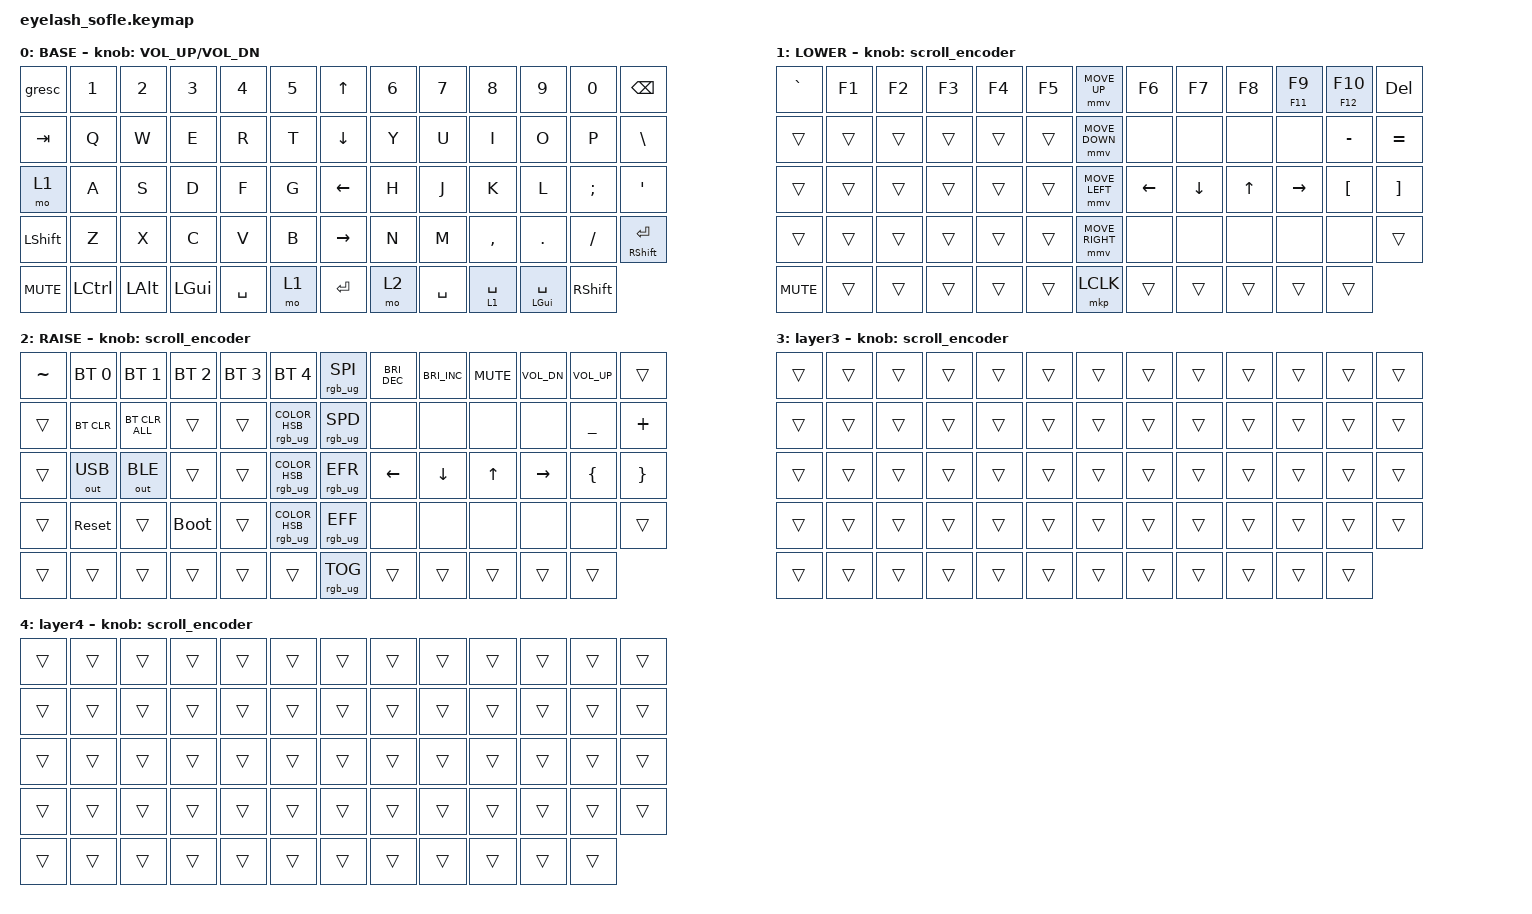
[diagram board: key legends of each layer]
#define ZMK_POINTING_DEFAULT_MOVE_VAL 1200  // 600
#define ZMK_POINTING_DEFAULT_SCRL_VAL 25   // 10

#include <input/processors.dtsi>
#include <zephyr/dt-bindings/input/input-event-codes.h>
#include <behaviors.dtsi>
#include <dt-bindings/zmk/bt.h>
#include <dt-bindings/zmk/keys.h>
#include <dt-bindings/zmk/outputs.h>
#include <dt-bindings/zmk/pointing.h>
#include <dt-bindings/zmk/rgb.h>

&mmv_input_listener { input-processors = <&zip_xy_scaler 2 1>; };

&msc_input_listener { input-processors = <&zip_scroll_scaler 2 1>; };

&msc {
    acceleration-exponent = <1>;      // 0
    time-to-max-speed-ms = <100>;       // 300
    delay-ms = <0>;                   // 0
};

&mmv {
    time-to-max-speed-ms = <500>;
    acceleration-exponent = <1>;
    trigger-period-ms = <16>;
};

&soft_off { hold-time-ms = <2000>; };

&lt { flavor = "hold-preferred"; };

/ {
    scroll_encoder: scroll_encoder {
        compatible = "zmk,behavior-sensor-rotate";
        #sensor-binding-cells = <0>;
        bindings = <&msc SCRL_DOWN>, <&msc SCRL_UP>;

        tap-ms = <100>;
    };

    behaviors {
    };

    combos {
        compatible = "zmk,combos";

        softoff {
            bindings = <&soft_off>;
            key-positions = <14 28 40>;
        };

        M2 {
            bindings = <&mo 2>;
            key-positions = <56 57>;
        };

        left_reset {
            bindings = <&sys_reset>;
            key-positions = <14 40 18 44>;
        };

        reset_right {
            bindings = <&sys_reset>;
            key-positions = <20 46 24 50>;
        };
    };

    keymap {
        compatible = "zmk,keymap";

        layer0 {
            bindings = <
&gresc      &kp N1     &kp N2        &kp N3        &kp N4     &kp N5    &kp UP_ARROW     &kp N6  &kp N7     &kp N8       &kp N9              &kp N0           &kp BACKSPACE
&kp TAB     &kp Q      &kp W         &kp E         &kp R      &kp T     &kp DOWN_ARROW   &kp Y   &kp U      &kp I        &kp O               &kp P            &kp BSLH
&mo 1       &kp A      &kp S         &kp D         &kp F      &kp G     &kp LEFT_ARROW   &kp H   &kp J      &kp K        &kp L               &kp SEMI         &kp APOS
&kp LSHFT   &kp Z      &kp X         &kp C         &kp V      &kp B     &kp RIGHT_ARROW  &kp N   &kp M      &kp COMMA    &kp DOT             &kp FSLH         &mt RIGHT_SHIFT ENTER
&kp C_MUTE  &kp LCTRL  &kp LEFT_ALT  &kp LEFT_GUI  &kp SPACE  &mo 1     &kp ENTER        &mo 2   &kp SPACE  &lt 1 SPACE  &mt LEFT_GUI SPACE  &kp RIGHT_SHIFT
            >;

            sensor-bindings = <&inc_dec_kp C_VOLUME_UP C_VOL_DN>;
            display-name = "BASE";
        };

        layer1 {
            bindings = <
&kp GRAVE   &kp F1  &kp F2  &kp F3  &kp F4  &kp F5    &mmv MOVE_UP     &kp F6          &kp F7          &kp F8        &mt F11 F9       &mt F12 F10       &kp DELETE
&trans      &trans  &trans  &trans  &trans  &trans    &mmv MOVE_DOWN   &none           &none           &none         &none            &kp MINUS         &kp EQUAL
&trans      &trans  &trans  &trans  &trans  &trans    &mmv MOVE_LEFT   &kp LEFT_ARROW  &kp DOWN_ARROW  &kp UP_ARROW  &kp RIGHT_ARROW  &kp LEFT_BRACKET  &kp RIGHT_BRACKET
&trans      &trans  &trans  &trans  &trans  &trans    &mmv MOVE_RIGHT  &none           &none           &none         &none            &none             &trans
&kp C_MUTE  &trans  &trans  &trans  &trans  &trans    &mkp LCLK        &trans          &trans          &trans        &trans           &trans
            >;

            display-name = "LOWER";
            sensor-bindings = <&scroll_encoder>;
        };

        layer2 {
            bindings = <
&kp TILDE  &bt BT_SEL 0  &bt BT_SEL 1    &bt BT_SEL 2  &bt BT_SEL 3  &bt BT_SEL 4                         &rgb_ug RGB_SPI  &kp C_BRIGHTNESS_DEC  &kp C_BRIGHTNESS_INC  &kp K_MUTE  &kp C_VOL_DN  &kp C_VOL_UP  &trans
&trans     &bt BT_CLR    &bt BT_CLR_ALL  &trans        &trans        &rgb_ug RGB_COLOR_HSB(0,0,100)       &rgb_ug RGB_SPD  &none                 &none                 &none       &none         &kp UNDER     &kp PLUS
&trans     &out OUT_USB  &out OUT_BLE    &trans        &trans        &rgb_ug RGB_COLOR_HSB(116,100,50)    &rgb_ug RGB_EFR  &kp LEFT              &kp DOWN              &kp UP      &kp RIGHT     &kp LBRC      &kp RBRC
&trans     &sys_reset    &trans          &bootloader   &trans        &rgb_ug RGB_COLOR_HSB(0,0,59)        &rgb_ug RGB_EFF  &none                 &none                 &none       &none         &none         &trans
&trans     &trans        &trans          &trans        &trans        &trans                               &rgb_ug RGB_TOG  &trans                &trans                &trans      &trans        &trans
            >;

            display-name = "RAISE";
            sensor-bindings = <&scroll_encoder>;
        };

        layer_3 {
            bindings = <
&trans  &trans  &trans  &trans  &trans  &trans    &trans  &trans  &trans  &trans  &trans  &trans  &trans
&trans  &trans  &trans  &trans  &trans  &trans    &trans  &trans  &trans  &trans  &trans  &trans  &trans
&trans  &trans  &trans  &trans  &trans  &trans    &trans  &trans  &trans  &trans  &trans  &trans  &trans
&trans  &trans  &trans  &trans  &trans  &trans    &trans  &trans  &trans  &trans  &trans  &trans  &trans
&trans  &trans  &trans  &trans  &trans  &trans    &trans  &trans  &trans  &trans  &trans  &trans
            >;

            display-name = "layer3";
            sensor-bindings = <&scroll_encoder>;
        };

        layer_4 {
            bindings = <
&trans  &trans  &trans  &trans  &trans  &trans    &trans  &trans  &trans  &trans  &trans  &trans  &trans
&trans  &trans  &trans  &trans  &trans  &trans    &trans  &trans  &trans  &trans  &trans  &trans  &trans
&trans  &trans  &trans  &trans  &trans  &trans    &trans  &trans  &trans  &trans  &trans  &trans  &trans
&trans  &trans  &trans  &trans  &trans  &trans    &trans  &trans  &trans  &trans  &trans  &trans  &trans
&trans  &trans  &trans  &trans  &trans  &trans    &trans  &trans  &trans  &trans  &trans  &trans
            >;

            display-name = "layer4";
            sensor-bindings = <&scroll_encoder>;
        };
    };
};
